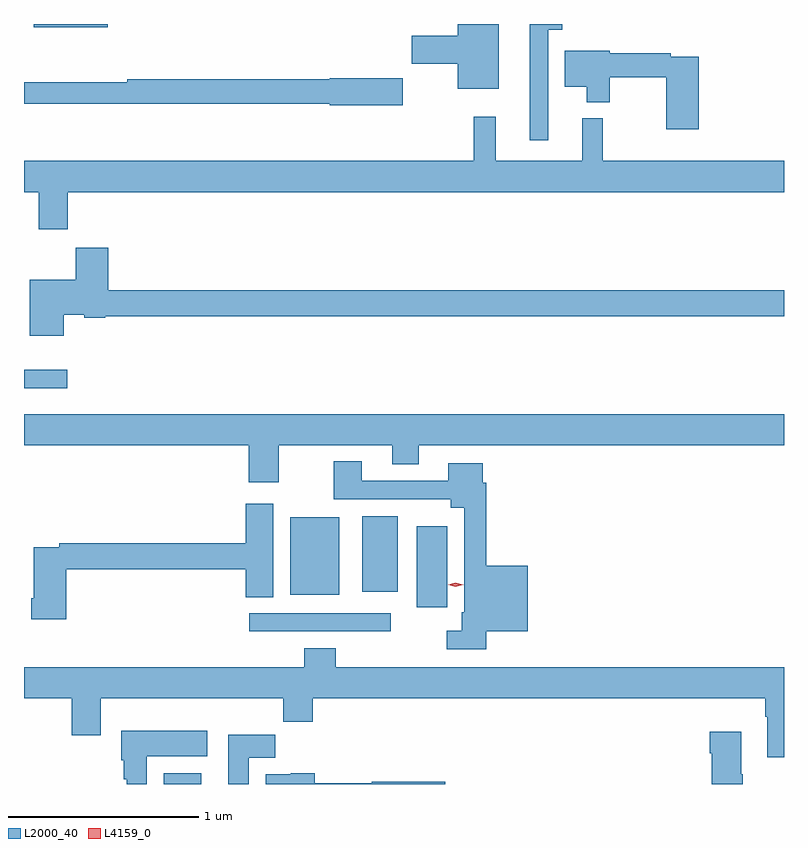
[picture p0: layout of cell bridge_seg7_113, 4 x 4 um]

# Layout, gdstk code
import gdstk
lib = gdstk.Library(unit=1e-6, precision=1e-09)
def R(c, l, rs):  # rectangles x0, y0, x1, y1
    for r in rs: c.add(gdstk.rectangle(r[:2], r[2:], *l))
def P(c, l, *ps):  # polygons
    for p in ps: c.add(gdstk.Polygon(p, *l))
L2000_40 = (2000, 40)
L4159_0 = (4159, 0)

bridge_seg7_113 = lib.new_cell('bridge_seg7_113')
R(bridge_seg7_113, L2000_40, [(700.383,1034.797,700.579,1034.854), (700.833,1035.6,701.578,1035.696), (701.714,1035.726,701.875,1036.153), (701.048,1035.794,701.305,1036.201), (701.426,1035.809,701.614,1036.207), (699.647,1036.88,699.874,1036.977), (699.698,1038.779,700.087,1038.797)])
P(bridge_seg7_113, L2000_40, [(702.145,1038.797),(701.93,1038.797),(701.93,1038.734),(701.688,1038.734),(701.688,1038.587),(701.93,1038.587),(701.93,1038.455),(702.145,1038.455)],
  [(702.405,1038.767),(702.479,1038.767),(702.479,1038.797),(702.308,1038.797),(702.308,1038.186),(702.405,1038.186)],
  [(703.199,1038.624),(703.052,1038.624),(703.052,1038.644),(702.73,1038.644),(702.73,1038.655),(702.494,1038.655),(702.494,1038.467),(702.608,1038.467),(702.608,1038.386),(702.73,1038.386),(702.73,1038.516),(703.028,1038.516),(703.028,1038.243),(703.199,1038.243)],
  [(701.641,1038.512),(701.256,1038.512),(701.256,1038.506),(700.191,1038.506),(700.191,1038.491),(699.647,1038.491),(699.647,1038.378),(701.256,1038.378),(701.256,1038.37),(701.641,1038.37)],
  [(699.878,1037.912),(703.647,1037.912),(703.647,1038.076),(702.694,1038.076),(702.694,1038.301),(702.584,1038.301),(702.584,1038.076),(702.131,1038.076),(702.131,1038.31),(702.013,1038.31),(702.013,1038.076),(699.647,1038.076),(699.647,1037.912),(699.725,1037.912),(699.725,1037.718),(699.878,1037.718)],
  [(699.856,1037.267),(699.963,1037.267),(699.963,1037.252),(700.074,1037.252),(700.074,1037.26),(703.647,1037.26),(703.647,1037.396),(700.091,1037.396),(700.091,1037.62),(699.92,1037.62),(699.92,1037.452),(699.677,1037.452),(699.677,1037.156),(699.856,1037.156)],
  [(700.989,1036.58),(701.585,1036.58),(701.585,1036.481),(701.725,1036.481),(701.725,1036.58),(703.647,1036.58),(703.647,1036.744),(699.647,1036.744),(699.647,1036.58),(700.829,1036.58),(700.829,1036.386),(700.989,1036.386)],
  [(702.08,1035.602),(702.298,1035.602),(702.298,1035.946),(702.08,1035.946),(702.08,1036.382),(702.061,1036.382),(702.061,1036.486),(701.879,1036.486),(701.879,1036.392),(701.425,1036.392),(701.425,1036.495),(701.278,1036.495),(701.278,1036.296),(701.894,1036.296),(701.894,1036.25),(701.964,1036.25),(701.964,1035.7),(701.952,1035.7),(701.952,1035.603),(701.871,1035.603),(701.871,1035.507),(702.08,1035.507)],
  [(699.869,1035.928),(700.814,1035.928),(700.814,1035.781),(700.96,1035.781),(700.96,1036.273),(700.814,1036.273),(700.814,1036.064),(699.832,1036.064),(699.832,1036.044),(699.698,1036.044),(699.698,1035.775),(699.686,1035.775),(699.686,1035.663),(699.869,1035.663)],
  [(703.647,1035.412),(701.288,1035.412),(701.288,1035.511),(701.123,1035.511),(701.123,1035.412),(699.647,1035.412),(699.647,1035.248),(699.899,1035.248),(699.899,1035.054),(700.051,1035.054),(700.051,1035.248),(701.011,1035.248),(701.011,1035.124),(701.168,1035.124),(701.168,1035.248),(703.547,1035.248),(703.547,1035.152),(703.559,1035.152),(703.559,1034.937),(703.647,1034.937)],
  [(700.294,1034.942),(700.612,1034.942),(700.612,1035.076),(700.16,1035.076),(700.16,1034.922),(700.172,1034.922),(700.172,1034.822),(700.187,1034.822),(700.187,1034.797),(700.294,1034.797)],
  [(703.431,1034.849),(703.423,1034.849),(703.423,1035.073),(703.256,1035.073),(703.256,1034.96),(703.268,1034.96),(703.268,1034.797),(703.431,1034.797)],
  [(700.831,1034.936),(700.97,1034.936),(700.97,1035.055),(700.721,1035.055),(700.721,1034.797),(700.831,1034.797)],
  [(701.863,1034.808),(701.478,1034.808),(701.478,1034.8),(701.178,1034.8),(701.178,1034.854),(701.052,1034.854),(701.052,1034.848),(700.919,1034.848),(700.919,1034.797),(701.863,1034.797)])
P(bridge_seg7_113, L4159_0, [(701.918,1035.836),(701.879,1035.846),(701.879,1035.846),(701.879,1035.846),(701.918,1035.856),(701.958,1035.846),(701.958,1035.846),(701.958,1035.846)])

lib.write_gds('bridge_seg7_113.gds')
